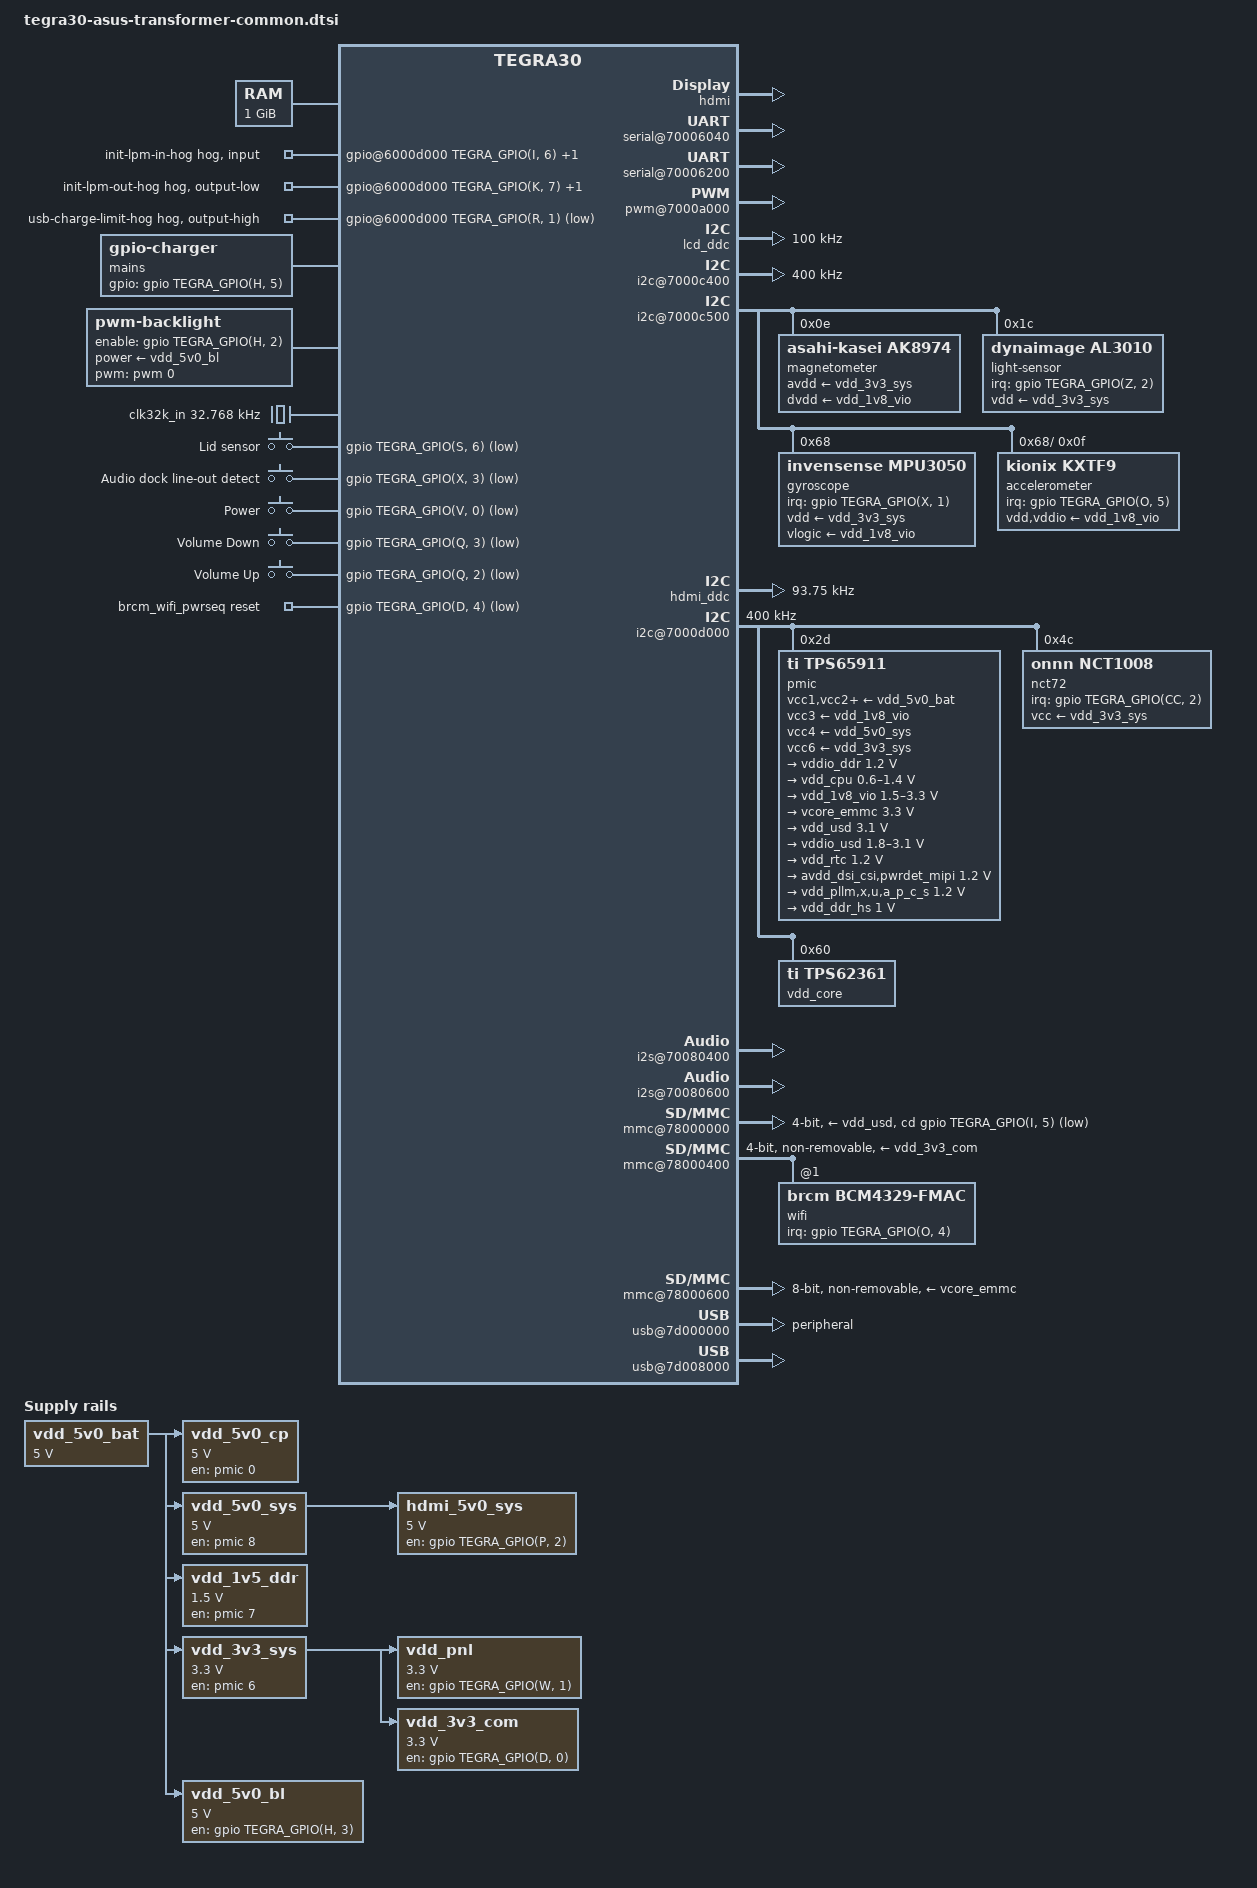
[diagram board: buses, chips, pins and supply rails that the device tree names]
// SPDX-License-Identifier: GPL-2.0

#include <dt-bindings/input/gpio-keys.h>
#include <dt-bindings/input/input.h>
#include <dt-bindings/thermal/thermal.h>

#include "tegra30.dtsi"
#include "tegra30-cpu-opp.dtsi"
#include "tegra30-cpu-opp-microvolt.dtsi"

/ {
	chassis-type = "convertible";

	aliases {
		mmc0 = "/mmc@78000600"; /* eMMC */
		mmc1 = "/mmc@78000000"; /* uSD slot */
		mmc2 = "/mmc@78000400"; /* WiFi */

		rtc0 = &pmic;
		rtc1 = "/rtc@7000e000";

		display0 = &lcd;
		display1 = &hdmi;

		serial1 = &uartc; /* Bluetooth */
		serial2 = &uartb; /* GPS */
	};

	/*
	 * The decompressor and also some bootloaders rely on a
	 * pre-existing /chosen node to be available to insert the
	 * command line and merge other ATAGS info.
	 */
	chosen {};

	firmware {
		trusted-foundations {
			compatible = "tlm,trusted-foundations";
			tlm,version-major = <2>;
			tlm,version-minor = <8>;
		};
	};

	memory@80000000 {
		reg = <0x80000000 0x40000000>;
	};

	reserved-memory {
		#address-cells = <1>;
		#size-cells = <1>;
		ranges;

		linux,cma@80000000 {
			compatible = "shared-dma-pool";
			alloc-ranges = <0x80000000 0x30000000>;
			size = <0x10000000>;		/* 256MiB */
			linux,cma-default;
			reusable;
		};

		ramoops@beb00000 {
			compatible = "ramoops";
			reg = <0xbeb00000 0x10000>;	/* 64kB */
			console-size = <0x8000>;	/* 32kB */
			record-size = <0x400>;		/*  1kB */
			ecc-size = <16>;
		};

		trustzone@bfe00000 {
			reg = <0xbfe00000 0x200000>;	/* 2MB */
			no-map;
		};
	};

	host1x@50000000 {
		hdmi: hdmi@54280000 {
			status = "okay";

			hdmi-supply = <&hdmi_5v0_sys>;
			pll-supply = <&vdd_1v8_vio>;
			vdd-supply = <&vdd_3v3_sys>;

			nvidia,hpd-gpio = <&gpio TEGRA_GPIO(N, 7) GPIO_ACTIVE_HIGH>;
			nvidia,ddc-i2c-bus = <&hdmi_ddc>;
		};
	};

	gpio@6000d000 {
		init-lpm-in-hog {
			gpio-hog;
			gpios = <TEGRA_GPIO(I, 6) GPIO_ACTIVE_HIGH>,
				<TEGRA_GPIO(B, 1) GPIO_ACTIVE_HIGH>;
			input;
		};

		init-lpm-out-hog {
			gpio-hog;
			gpios = <TEGRA_GPIO(K, 7) GPIO_ACTIVE_HIGH>,
				<TEGRA_GPIO(R, 0) GPIO_ACTIVE_HIGH>;
			output-low;
		};

		usb-charge-limit-hog {
			gpio-hog;
			gpios = <TEGRA_GPIO(R, 1) GPIO_ACTIVE_LOW>;
			output-high;
		};
	};

	vde@6001a000 {
		assigned-clocks = <&tegra_car TEGRA30_CLK_VDE>;
		assigned-clock-parents = <&tegra_car TEGRA30_CLK_PLL_P>;
		assigned-clock-rates = <408000000>;
	};

	pinmux@70000868 {
		pinctrl-names = "default";
		pinctrl-0 = <&state_default>;

		state_default: pinmux {
			/* SDMMC1 pinmux */
			sdmmc1_clk {
				nvidia,pins = "sdmmc1_clk_pz0";
				nvidia,function = "sdmmc1";
				nvidia,pull = <TEGRA_PIN_PULL_NONE>;
				nvidia,tristate = <TEGRA_PIN_DISABLE>;
				nvidia,enable-input = <TEGRA_PIN_ENABLE>;
			};

			sdmmc1_cmd {
				nvidia,pins = "sdmmc1_dat3_py4",
						"sdmmc1_dat2_py5",
						"sdmmc1_dat1_py6",
						"sdmmc1_dat0_py7",
						"sdmmc1_cmd_pz1";
				nvidia,function = "sdmmc1";
				nvidia,pull = <TEGRA_PIN_PULL_UP>;
				nvidia,tristate = <TEGRA_PIN_DISABLE>;
				nvidia,enable-input = <TEGRA_PIN_ENABLE>;
			};

			sdmmc1_cd {
				nvidia,pins = "gmi_iordy_pi5";
				nvidia,function = "rsvd1";
				nvidia,pull = <TEGRA_PIN_PULL_UP>;
				nvidia,tristate = <TEGRA_PIN_DISABLE>;
				nvidia,enable-input = <TEGRA_PIN_ENABLE>;
			};

			sdmmc1_wp {
				nvidia,pins = "vi_d11_pt3";
				nvidia,function = "rsvd2";
				nvidia,pull = <TEGRA_PIN_PULL_UP>;
				nvidia,tristate = <TEGRA_PIN_DISABLE>;
				nvidia,enable-input = <TEGRA_PIN_ENABLE>;
			};

			/* SDMMC2 pinmux */
			vi_d1_pd5 {
				nvidia,pins = "vi_d1_pd5",
						"vi_d2_pl0",
						"vi_d3_pl1",
						"vi_d5_pl3",
						"vi_d7_pl5";
				nvidia,function = "sdmmc2";
				nvidia,pull = <TEGRA_PIN_PULL_NONE>;
				nvidia,tristate = <TEGRA_PIN_DISABLE>;
				nvidia,enable-input = <TEGRA_PIN_ENABLE>;
			};

			vi_d8_pl6 {
				nvidia,pins = "vi_d8_pl6",
						"vi_d9_pl7";
				nvidia,function = "sdmmc2";
				nvidia,pull = <TEGRA_PIN_PULL_NONE>;
				nvidia,tristate = <TEGRA_PIN_DISABLE>;
				nvidia,enable-input = <TEGRA_PIN_ENABLE>;
				nvidia,lock = <0>;
				nvidia,io-reset = <0>;
			};

			/* SDMMC3 pinmux */
			sdmmc3_clk {
				nvidia,pins = "sdmmc3_clk_pa6";
				nvidia,function = "sdmmc3";
				nvidia,pull = <TEGRA_PIN_PULL_NONE>;
				nvidia,tristate = <TEGRA_PIN_DISABLE>;
				nvidia,enable-input = <TEGRA_PIN_ENABLE>;
			};

			sdmmc3_cmd {
				nvidia,pins = "sdmmc3_cmd_pa7",
						"sdmmc3_dat0_pb7",
						"sdmmc3_dat1_pb6",
						"sdmmc3_dat2_pb5",
						"sdmmc3_dat3_pb4",
						"sdmmc3_dat4_pd1",
						"sdmmc3_dat5_pd0",
						"sdmmc3_dat6_pd3",
						"sdmmc3_dat7_pd4";
				nvidia,function = "sdmmc3";
				nvidia,pull = <TEGRA_PIN_PULL_UP>;
				nvidia,tristate = <TEGRA_PIN_DISABLE>;
				nvidia,enable-input = <TEGRA_PIN_ENABLE>;
			};

			/* SDMMC4 pinmux */
			sdmmc4_clk {
				nvidia,pins = "sdmmc4_clk_pcc4";
				nvidia,function = "sdmmc4";
				nvidia,pull = <TEGRA_PIN_PULL_NONE>;
				nvidia,tristate = <TEGRA_PIN_DISABLE>;
				nvidia,enable-input = <TEGRA_PIN_ENABLE>;
			};

			sdmmc4_cmd {
				nvidia,pins = "sdmmc4_cmd_pt7",
						"sdmmc4_dat0_paa0",
						"sdmmc4_dat1_paa1",
						"sdmmc4_dat2_paa2",
						"sdmmc4_dat3_paa3",
						"sdmmc4_dat4_paa4",
						"sdmmc4_dat5_paa5",
						"sdmmc4_dat6_paa6",
						"sdmmc4_dat7_paa7";
				nvidia,function = "sdmmc4";
				nvidia,pull = <TEGRA_PIN_PULL_UP>;
				nvidia,tristate = <TEGRA_PIN_DISABLE>;
				nvidia,enable-input = <TEGRA_PIN_ENABLE>;
			};

			sdmmc4_rst_n {
				nvidia,pins = "sdmmc4_rst_n_pcc3";
				nvidia,function = "rsvd2";
				nvidia,pull = <TEGRA_PIN_PULL_DOWN>;
				nvidia,tristate = <TEGRA_PIN_DISABLE>;
				nvidia,enable-input = <TEGRA_PIN_ENABLE>;
			};

			cam_mclk {
				nvidia,pins = "cam_mclk_pcc0";
				nvidia,function = "vi_alt3";
				nvidia,pull = <TEGRA_PIN_PULL_UP>;
				nvidia,tristate = <TEGRA_PIN_DISABLE>;
				nvidia,enable-input = <TEGRA_PIN_ENABLE>;
			};

			drive_sdmmc4 {
				nvidia,pins = "drive_gma",
						"drive_gmb",
						"drive_gmc",
						"drive_gmd";
				nvidia,pull-down-strength = <9>;
				nvidia,pull-up-strength = <9>;
				nvidia,slew-rate-rising = <TEGRA_PIN_SLEW_RATE_SLOWEST>;
				nvidia,slew-rate-falling = <TEGRA_PIN_SLEW_RATE_SLOWEST>;
			};

			/* I2C pinmux */
			gen1_i2c {
				nvidia,pins = "gen1_i2c_scl_pc4",
						"gen1_i2c_sda_pc5";
				nvidia,function = "i2c1";
				nvidia,pull = <TEGRA_PIN_PULL_NONE>;
				nvidia,tristate = <TEGRA_PIN_DISABLE>;
				nvidia,enable-input = <TEGRA_PIN_ENABLE>;
				nvidia,open-drain = <TEGRA_PIN_ENABLE>;
				nvidia,lock = <0>;
			};

			gen2_i2c {
				nvidia,pins = "gen2_i2c_scl_pt5",
						"gen2_i2c_sda_pt6";
				nvidia,function = "i2c2";
				nvidia,pull = <TEGRA_PIN_PULL_NONE>;
				nvidia,tristate = <TEGRA_PIN_DISABLE>;
				nvidia,enable-input = <TEGRA_PIN_ENABLE>;
				nvidia,open-drain = <TEGRA_PIN_ENABLE>;
				nvidia,lock = <0>;
			};

			cam_i2c {
				nvidia,pins = "cam_i2c_scl_pbb1",
						"cam_i2c_sda_pbb2";
				nvidia,function = "i2c3";
				nvidia,pull = <TEGRA_PIN_PULL_NONE>;
				nvidia,tristate = <TEGRA_PIN_DISABLE>;
				nvidia,enable-input = <TEGRA_PIN_ENABLE>;
				nvidia,open-drain = <TEGRA_PIN_ENABLE>;
				nvidia,lock = <0>;
			};

			ddc_i2c {
				nvidia,pins = "ddc_scl_pv4",
						"ddc_sda_pv5";
				nvidia,function = "i2c4";
				nvidia,pull = <TEGRA_PIN_PULL_NONE>;
				nvidia,tristate = <TEGRA_PIN_DISABLE>;
				nvidia,enable-input = <TEGRA_PIN_ENABLE>;
				nvidia,lock = <0>;
			};

			pwr_i2c {
				nvidia,pins = "pwr_i2c_scl_pz6",
						"pwr_i2c_sda_pz7";
				nvidia,function = "i2cpwr";
				nvidia,pull = <TEGRA_PIN_PULL_NONE>;
				nvidia,tristate = <TEGRA_PIN_DISABLE>;
				nvidia,enable-input = <TEGRA_PIN_ENABLE>;
				nvidia,open-drain = <TEGRA_PIN_ENABLE>;
				nvidia,lock = <0>;
			};

			hotplug_i2c {
				nvidia,pins = "pu4";
				nvidia,function = "rsvd4";
				nvidia,pull = <TEGRA_PIN_PULL_UP>;
				nvidia,tristate = <TEGRA_PIN_DISABLE>;
				nvidia,enable-input = <TEGRA_PIN_ENABLE>;
			};

			/* HDMI pinmux */
			hdmi_cec {
				nvidia,pins = "hdmi_cec_pee3";
				nvidia,function = "cec";
				nvidia,pull = <TEGRA_PIN_PULL_NONE>;
				nvidia,tristate = <TEGRA_PIN_DISABLE>;
				nvidia,enable-input = <TEGRA_PIN_ENABLE>;
				nvidia,open-drain = <TEGRA_PIN_ENABLE>;
				nvidia,lock = <0>;
			};

			hdmi_hpd {
				nvidia,pins = "hdmi_int_pn7";
				nvidia,function = "hdmi";
				nvidia,pull = <TEGRA_PIN_PULL_NONE>;
				nvidia,tristate = <TEGRA_PIN_ENABLE>;
				nvidia,enable-input = <TEGRA_PIN_ENABLE>;
			};

			/* UART-A */
			ulpi_data0_po1 {
				nvidia,pins = "ulpi_data0_po1";
				nvidia,function = "uarta";
				nvidia,pull = <TEGRA_PIN_PULL_NONE>;
				nvidia,tristate = <TEGRA_PIN_DISABLE>;
				nvidia,enable-input = <TEGRA_PIN_DISABLE>;
			};

			ulpi_data1_po2 {
				nvidia,pins = "ulpi_data1_po2";
				nvidia,function = "uarta";
				nvidia,pull = <TEGRA_PIN_PULL_DOWN>;
				nvidia,tristate = <TEGRA_PIN_ENABLE>;
				nvidia,enable-input = <TEGRA_PIN_ENABLE>;
			};

			ulpi_data5_po6 {
				nvidia,pins = "ulpi_data5_po6";
				nvidia,function = "uarta";
				nvidia,pull = <TEGRA_PIN_PULL_NONE>;
				nvidia,tristate = <TEGRA_PIN_ENABLE>;
				nvidia,enable-input = <TEGRA_PIN_ENABLE>;
			};

			ulpi_data7_po0 {
				nvidia,pins = "ulpi_data7_po0",
						"ulpi_data2_po3",
						"ulpi_data3_po4",
						"ulpi_data4_po5",
						"ulpi_data6_po7";
				nvidia,function = "uarta";
				nvidia,pull = <TEGRA_PIN_PULL_NONE>;
				nvidia,tristate = <TEGRA_PIN_DISABLE>;
				nvidia,enable-input = <TEGRA_PIN_ENABLE>;
			};

			/* UART-B */
			uartb_txd_rts {
				nvidia,pins = "uart2_txd_pc2",
						"uart2_rts_n_pj6";
				nvidia,function = "uartb";
				nvidia,pull = <TEGRA_PIN_PULL_NONE>;
				nvidia,tristate = <TEGRA_PIN_DISABLE>;
				nvidia,enable-input = <TEGRA_PIN_DISABLE>;
			};

			uartb_rxd_cts {
				nvidia,pins = "uart2_rxd_pc3",
						"uart2_cts_n_pj5";
				nvidia,function = "uartb";
				nvidia,pull = <TEGRA_PIN_PULL_NONE>;
				nvidia,tristate = <TEGRA_PIN_DISABLE>;
				nvidia,enable-input = <TEGRA_PIN_ENABLE>;
			};

			/* UART-C */
			uartc_rxd_cts {
				nvidia,pins = "uart3_cts_n_pa1",
						"uart3_rxd_pw7";
				nvidia,function = "uartc";
				nvidia,pull = <TEGRA_PIN_PULL_NONE>;
				nvidia,tristate = <TEGRA_PIN_DISABLE>;
				nvidia,enable-input = <TEGRA_PIN_ENABLE>;
			};

			uartc_txd_rts {
				nvidia,pins = "uart3_rts_n_pc0",
						"uart3_txd_pw6";
				nvidia,function = "uartc";
				nvidia,pull = <TEGRA_PIN_PULL_NONE>;
				nvidia,tristate = <TEGRA_PIN_DISABLE>;
				nvidia,enable-input = <TEGRA_PIN_DISABLE>;
			};

			/* UART-D */
			ulpi_nxt_py2 {
				nvidia,pins = "ulpi_nxt_py2";
				nvidia,function = "uartd";
				nvidia,pull = <TEGRA_PIN_PULL_NONE>;
				nvidia,tristate = <TEGRA_PIN_ENABLE>;
				nvidia,enable-input = <TEGRA_PIN_ENABLE>;
			};

			ulpi_clk_py0 {
				nvidia,pins = "ulpi_clk_py0",
						"ulpi_dir_py1",
						"ulpi_stp_py3";
				nvidia,function = "uartd";
				nvidia,pull = <TEGRA_PIN_PULL_NONE>;
				nvidia,tristate = <TEGRA_PIN_ENABLE>;
				nvidia,enable-input = <TEGRA_PIN_DISABLE>;
			};

			/* I2S pinmux */
			dap_i2s0 {
				nvidia,pins = "dap1_fs_pn0",
						"dap1_din_pn1",
						"dap1_dout_pn2",
						"dap1_sclk_pn3";
				nvidia,function = "i2s0";
				nvidia,pull = <TEGRA_PIN_PULL_NONE>;
				nvidia,tristate = <TEGRA_PIN_ENABLE>;
				nvidia,enable-input = <TEGRA_PIN_ENABLE>;
			};

			dap_i2s1 {
				nvidia,pins = "dap2_fs_pa2",
						"dap2_sclk_pa3",
						"dap2_din_pa4",
						"dap2_dout_pa5";
				nvidia,function = "i2s1";
				nvidia,pull = <TEGRA_PIN_PULL_NONE>;
				nvidia,tristate = <TEGRA_PIN_DISABLE>;
				nvidia,enable-input = <TEGRA_PIN_ENABLE>;
			};

			dap3_fs {
				nvidia,pins = "dap3_fs_pp0",
						"dap3_din_pp1";
				nvidia,function = "i2s2";
				nvidia,pull = <TEGRA_PIN_PULL_NONE>;
				nvidia,tristate = <TEGRA_PIN_ENABLE>;
				nvidia,enable-input = <TEGRA_PIN_ENABLE>;
			};

			dap3_dout {
				nvidia,pins = "dap3_dout_pp2",
						"dap3_sclk_pp3";
				nvidia,function = "i2s2";
				nvidia,pull = <TEGRA_PIN_PULL_NONE>;
				nvidia,tristate = <TEGRA_PIN_DISABLE>;
				nvidia,enable-input = <TEGRA_PIN_ENABLE>;
			};

			dap_i2s3 {
				nvidia,pins = "dap4_fs_pp4",
						"dap4_din_pp5",
						"dap4_dout_pp6",
						"dap4_sclk_pp7";
				nvidia,function = "i2s3";
				nvidia,pull = <TEGRA_PIN_PULL_NONE>;
				nvidia,tristate = <TEGRA_PIN_DISABLE>;
				nvidia,enable-input = <TEGRA_PIN_ENABLE>;
			};

			/* Sensors pinmux */
			nct_irq {
				nvidia,pins = "pcc2";
				nvidia,function = "i2s4";
				nvidia,pull = <TEGRA_PIN_PULL_NONE>;
				nvidia,tristate = <TEGRA_PIN_DISABLE>;
				nvidia,enable-input = <TEGRA_PIN_ENABLE>;
			};

			/* Asus EC pinmux */
			ec_irqs {
				nvidia,pins = "kb_row10_ps2",
						"kb_row15_ps7";
				nvidia,function = "kbc";
				nvidia,pull = <TEGRA_PIN_PULL_UP>;
				nvidia,tristate = <TEGRA_PIN_DISABLE>;
				nvidia,enable-input = <TEGRA_PIN_ENABLE>;
			};

			ec_reqs {
				nvidia,pins = "kb_col1_pq1";
				nvidia,function = "kbc";
				nvidia,pull = <TEGRA_PIN_PULL_UP>;
				nvidia,tristate = <TEGRA_PIN_DISABLE>;
				nvidia,enable-input = <TEGRA_PIN_ENABLE>;
			};

			/* Memory type bootstrap */
			mem_boostraps {
				nvidia,pins = "gmi_ad4_pg4",
						"gmi_ad5_pg5";
				nvidia,function = "nand";
				nvidia,pull = <TEGRA_PIN_PULL_NONE>;
				nvidia,tristate = <TEGRA_PIN_DISABLE>;
				nvidia,enable-input = <TEGRA_PIN_ENABLE>;
			};

			/* PCI-e pinmux */
			pex_l2_rst_n {
				nvidia,pins = "pex_l2_rst_n_pcc6",
						"pex_l0_rst_n_pdd1",
						"pex_l1_rst_n_pdd5";
				nvidia,function = "pcie";
				nvidia,pull = <TEGRA_PIN_PULL_NONE>;
				nvidia,tristate = <TEGRA_PIN_DISABLE>;
				nvidia,enable-input = <TEGRA_PIN_DISABLE>;
			};

			pex_l2_clkreq_n {
				nvidia,pins = "pex_l2_clkreq_n_pcc7",
						"pex_l0_prsnt_n_pdd0",
						"pex_l0_clkreq_n_pdd2",
						"pex_wake_n_pdd3",
						"pex_l1_prsnt_n_pdd4",
						"pex_l1_clkreq_n_pdd6",
						"pex_l2_prsnt_n_pdd7";
				nvidia,function = "pcie";
				nvidia,pull = <TEGRA_PIN_PULL_NONE>;
				nvidia,tristate = <TEGRA_PIN_DISABLE>;
				nvidia,enable-input = <TEGRA_PIN_ENABLE>;
			};

			/* SPI pinmux */
			spi1_mosi_px4 {
				nvidia,pins = "spi1_mosi_px4",
						"spi1_sck_px5",
						"spi1_cs0_n_px6",
						"spi1_miso_px7";
				nvidia,function = "spi1";
				nvidia,pull = <TEGRA_PIN_PULL_NONE>;
				nvidia,tristate = <TEGRA_PIN_ENABLE>;
				nvidia,enable-input = <TEGRA_PIN_ENABLE>;
			};

			spi2_cs1_n_pw2 {
				nvidia,pins = "spi2_cs1_n_pw2";
				nvidia,function = "spi2";
				nvidia,pull = <TEGRA_PIN_PULL_UP>;
				nvidia,tristate = <TEGRA_PIN_DISABLE>;
				nvidia,enable-input = <TEGRA_PIN_ENABLE>;
			};

			spi2_sck_px2 {
				nvidia,pins = "spi2_sck_px2";
				nvidia,function = "spi2";
				nvidia,pull = <TEGRA_PIN_PULL_NONE>;
				nvidia,tristate = <TEGRA_PIN_DISABLE>;
				nvidia,enable-input = <TEGRA_PIN_ENABLE>;
			};

			gmi_a17_pb0 {
				nvidia,pins = "gmi_a17_pb0",
						"gmi_a16_pj7";
				nvidia,function = "spi4";
				nvidia,pull = <TEGRA_PIN_PULL_NONE>;
				nvidia,tristate = <TEGRA_PIN_ENABLE>;
				nvidia,enable-input = <TEGRA_PIN_DISABLE>;
			};

			gmi_a18_pb1 {
				nvidia,pins = "gmi_a18_pb1";
				nvidia,function = "spi4";
				nvidia,pull = <TEGRA_PIN_PULL_UP>;
				nvidia,tristate = <TEGRA_PIN_DISABLE>;
				nvidia,enable-input = <TEGRA_PIN_ENABLE>;
			};

			gmi_a19_pk7 {
				nvidia,pins = "gmi_a19_pk7";
				nvidia,function = "spi4";
				nvidia,pull = <TEGRA_PIN_PULL_NONE>;
				nvidia,tristate = <TEGRA_PIN_DISABLE>;
				nvidia,enable-input = <TEGRA_PIN_ENABLE>;
			};

			/* Display A pinmux */
			lcd_pwr0_pb2 {
				nvidia,pins = "lcd_pwr0_pb2",
						"lcd_pclk_pb3",
						"lcd_pwr1_pc1",
						"lcd_d0_pe0",
						"lcd_d1_pe1",
						"lcd_d2_pe2",
						"lcd_d3_pe3",
						"lcd_d4_pe4",
						"lcd_d5_pe5",
						"lcd_d6_pe6",
						"lcd_d7_pe7",
						"lcd_d8_pf0",
						"lcd_d9_pf1",
						"lcd_d10_pf2",
						"lcd_d11_pf3",
						"lcd_d12_pf4",
						"lcd_d13_pf5",
						"lcd_d14_pf6",
						"lcd_d15_pf7",
						"lcd_de_pj1",
						"lcd_hsync_pj3",
						"lcd_vsync_pj4",
						"lcd_d16_pm0",
						"lcd_d17_pm1",
						"lcd_d18_pm2",
						"lcd_d19_pm3",
						"lcd_d20_pm4",
						"lcd_d21_pm5",
						"lcd_d22_pm6",
						"lcd_d23_pm7",
						"lcd_dc0_pn6",
						"lcd_sdin_pz2";
				nvidia,function = "displaya";
				nvidia,pull = <TEGRA_PIN_PULL_NONE>;
				nvidia,tristate = <TEGRA_PIN_DISABLE>;
				nvidia,enable-input = <TEGRA_PIN_ENABLE>;
			};

			lcd_cs0_n_pn4 {
				nvidia,pins = "lcd_cs0_n_pn4",
						"lcd_sdout_pn5",
						"lcd_wr_n_pz3";
				nvidia,function = "displaya";
				nvidia,pull = <TEGRA_PIN_PULL_NONE>;
				nvidia,tristate = <TEGRA_PIN_ENABLE>;
				nvidia,enable-input = <TEGRA_PIN_ENABLE>;
			};

			blink {
				nvidia,pins = "clk_32k_out_pa0";
				nvidia,function = "blink";
				nvidia,pull = <TEGRA_PIN_PULL_NONE>;
				nvidia,tristate = <TEGRA_PIN_DISABLE>;
				nvidia,enable-input = <TEGRA_PIN_DISABLE>;
			};

			/* KBC keys */
			kb_col0_pq0 {
				nvidia,pins = "kb_col0_pq0";
				nvidia,function = "kbc";
				nvidia,pull = <TEGRA_PIN_PULL_NONE>;
				nvidia,tristate = <TEGRA_PIN_ENABLE>;
				nvidia,enable-input = <TEGRA_PIN_DISABLE>;
			};

			kb_col1_pq1 {
				nvidia,pins = "kb_row1_pr1",
						"kb_row3_pr3",
						"kb_row8_ps0",
						"kb_row14_ps6";
				nvidia,function = "kbc";
				nvidia,pull = <TEGRA_PIN_PULL_UP>;
				nvidia,tristate = <TEGRA_PIN_DISABLE>;
				nvidia,enable-input = <TEGRA_PIN_ENABLE>;
			};

			kb_col4_pq4 {
				nvidia,pins = "kb_col4_pq4",
						"kb_col5_pq5",
						"kb_col7_pq7",
						"kb_row2_pr2",
						"kb_row4_pr4",
						"kb_row5_pr5",
						"kb_row12_ps4",
						"kb_row13_ps5";
				nvidia,function = "kbc";
				nvidia,pull = <TEGRA_PIN_PULL_NONE>;
				nvidia,tristate = <TEGRA_PIN_ENABLE>;
				nvidia,enable-input = <TEGRA_PIN_ENABLE>;
			};

			gmi_wp_n_pc7 {
				nvidia,pins = "gmi_wp_n_pc7",
						"gmi_wait_pi7",
						"gmi_cs3_n_pk4";
				nvidia,function = "rsvd1";
				nvidia,pull = <TEGRA_PIN_PULL_NONE>;
				nvidia,tristate = <TEGRA_PIN_ENABLE>;
				nvidia,enable-input = <TEGRA_PIN_DISABLE>;
			};

			gmi_cs0_n_pj0 {
				nvidia,pins = "gmi_cs0_n_pj0",
						"gmi_cs1_n_pj2",
						"gmi_cs2_n_pk3";
				nvidia,function = "rsvd1";
				nvidia,pull = <TEGRA_PIN_PULL_NONE>;
				nvidia,tristate = <TEGRA_PIN_ENABLE>;
				nvidia,enable-input = <TEGRA_PIN_ENABLE>;
			};

			vi_pclk_pt0 {
				nvidia,pins = "vi_pclk_pt0";
				nvidia,function = "rsvd1";
				nvidia,pull = <TEGRA_PIN_PULL_UP>;
				nvidia,tristate = <TEGRA_PIN_ENABLE>;
				nvidia,enable-input = <TEGRA_PIN_ENABLE>;
				nvidia,lock = <0>;
				nvidia,io-reset = <0>;
			};

			/* GPIO keys pinmux */
			power_key {
				nvidia,pins = "pv0";
				nvidia,function = "rsvd1";
				nvidia,pull = <TEGRA_PIN_PULL_UP>;
				nvidia,tristate = <TEGRA_PIN_ENABLE>;
				nvidia,enable-input = <TEGRA_PIN_ENABLE>;
			};

			vol_keys {
				nvidia,pins = "kb_col2_pq2",
						"kb_col3_pq3";
				nvidia,function = "rsvd4";
				nvidia,pull = <TEGRA_PIN_PULL_UP>;
				nvidia,tristate = <TEGRA_PIN_ENABLE>;
				nvidia,enable-input = <TEGRA_PIN_ENABLE>;
			};

			/* Bluetooth */
			bt_shutdown {
				nvidia,pins = "pu0";
				nvidia,function = "rsvd4";
				nvidia,pull = <TEGRA_PIN_PULL_NONE>;
				nvidia,tristate = <TEGRA_PIN_DISABLE>;
				nvidia,enable-input = <TEGRA_PIN_ENABLE>;
			};

			bt_dev_wake {
				nvidia,pins = "pu1";
				nvidia,function = "rsvd1";
				nvidia,pull = <TEGRA_PIN_PULL_NONE>;
				nvidia,tristate = <TEGRA_PIN_DISABLE>;
				nvidia,enable-input = <TEGRA_PIN_DISABLE>;
			};

			bt_host_wake {
				nvidia,pins = "pu6";
				nvidia,function = "rsvd4";
				nvidia,pull = <TEGRA_PIN_PULL_DOWN>;
				nvidia,tristate = <TEGRA_PIN_DISABLE>;
				nvidia,enable-input = <TEGRA_PIN_ENABLE>;
			};

			pu2 {
				nvidia,pins = "pu2";
				nvidia,function = "rsvd1";
				nvidia,pull = <TEGRA_PIN_PULL_NONE>;
				nvidia,tristate = <TEGRA_PIN_DISABLE>;
				nvidia,enable-input = <TEGRA_PIN_ENABLE>;
			};

			pu3 {
				nvidia,pins = "pu3";
				nvidia,function = "rsvd4";
				nvidia,pull = <TEGRA_PIN_PULL_NONE>;
				nvidia,tristate = <TEGRA_PIN_DISABLE>;
				nvidia,enable-input = <TEGRA_PIN_DISABLE>;
			};

			pcc1 {
				nvidia,pins = "pcc1";
				nvidia,function = "rsvd2";
				nvidia,pull = <TEGRA_PIN_PULL_NONE>;
				nvidia,tristate = <TEGRA_PIN_ENABLE>;
				nvidia,enable-input = <TEGRA_PIN_ENABLE>;
			};

			pv2 {
				nvidia,pins = "pv2";
				nvidia,function = "rsvd2";
				nvidia,pull = <TEGRA_PIN_PULL_NONE>;
				nvidia,tristate = <TEGRA_PIN_DISABLE>;
				nvidia,enable-input = <TEGRA_PIN_DISABLE>;
			};

			pv3 {
				nvidia,pins = "pv3";
				nvidia,function = "rsvd2";
				nvidia,pull = <TEGRA_PIN_PULL_NONE>;
				nvidia,tristate = <TEGRA_PIN_ENABLE>;
				nvidia,enable-input = <TEGRA_PIN_DISABLE>;
			};

			vi_vsync_pd6 {
				nvidia,pins = "vi_vsync_pd6",
						"vi_hsync_pd7";
				nvidia,function = "rsvd2";
				nvidia,pull = <TEGRA_PIN_PULL_NONE>;
				nvidia,tristate = <TEGRA_PIN_DISABLE>;
				nvidia,enable-input = <TEGRA_PIN_ENABLE>;
				nvidia,lock = <0>;
				nvidia,io-reset = <0>;
			};

			vi_d10_pt2 {
				nvidia,pins = "vi_d10_pt2",
						"vi_d0_pt4", "pbb0";
				nvidia,function = "rsvd2";
				nvidia,pull = <TEGRA_PIN_PULL_NONE>;
				nvidia,tristate = <TEGRA_PIN_DISABLE>;
				nvidia,enable-input = <TEGRA_PIN_ENABLE>;
			};

			kb_row0_pr0 {
				nvidia,pins = "kb_row0_pr0";
				nvidia,function = "rsvd4";
				nvidia,pull = <TEGRA_PIN_PULL_UP>;
				nvidia,tristate = <TEGRA_PIN_DISABLE>;
				nvidia,enable-input = <TEGRA_PIN_DISABLE>;
			};

			gmi_ad0_pg0 {
				nvidia,pins = "gmi_ad0_pg0",
						"gmi_ad1_pg1",
						"gmi_ad2_pg2",
						"gmi_ad3_pg3",
						"gmi_ad6_pg6",
						"gmi_ad7_pg7",
						"gmi_wr_n_pi0",
						"gmi_oe_n_pi1",
						"gmi_dqs_pi2",
						"gmi_adv_n_pk0",
						"gmi_clk_pk1";
				nvidia,function = "nand";
				nvidia,pull = <TEGRA_PIN_PULL_NONE>;
				nvidia,tristate = <TEGRA_PIN_ENABLE>;
				nvidia,enable-input = <TEGRA_PIN_DISABLE>;
			};

			gmi_ad13_ph5 {
				nvidia,pins = "gmi_ad13_ph5";
				nvidia,function = "nand";
				nvidia,pull = <TEGRA_PIN_PULL_NONE>;
				nvidia,tristate = <TEGRA_PIN_DISABLE>;
				nvidia,enable-input = <TEGRA_PIN_ENABLE>;
			};

			gmi_ad10_ph2 {
				nvidia,pins = "gmi_ad10_ph2",
						"gmi_ad11_ph3",
						"gmi_ad14_ph6";
				nvidia,function = "nand";
				nvidia,pull = <TEGRA_PIN_PULL_NONE>;
				nvidia,tristate = <TEGRA_PIN_DISABLE>;
				nvidia,enable-input = <TEGRA_PIN_DISABLE>;
			};

			gmi_ad12_ph4 {
				nvidia,pins = "gmi_ad12_ph4",
						"gmi_rst_n_pi4",
						"gmi_cs7_n_pi6";
				nvidia,function = "nand";
				nvidia,pull = <TEGRA_PIN_PULL_UP>;
				nvidia,tristate = <TEGRA_PIN_DISABLE>;
				nvidia,enable-input = <TEGRA_PIN_ENABLE>;
			};

			/* Vibrator control */
			vibrator {
				nvidia,pins = "gmi_ad15_ph7";
				nvidia,function = "nand";
				nvidia,pull = <TEGRA_PIN_PULL_DOWN>;
				nvidia,tristate = <TEGRA_PIN_DISABLE>;
				nvidia,enable-input = <TEGRA_PIN_DISABLE>;
			};

			/* PWM pimnmux */
			pwm_0 {
				nvidia,pins = "gmi_ad8_ph0";
				nvidia,function = "pwm0";
				nvidia,pull = <TEGRA_PIN_PULL_NONE>;
				nvidia,tristate = <TEGRA_PIN_DISABLE>;
				nvidia,enable-input = <TEGRA_PIN_DISABLE>;
			};

			pwm_2 {
				nvidia,pins = "pu5";
				nvidia,function = "pwm2";
				nvidia,pull = <TEGRA_PIN_PULL_NONE>;
				nvidia,tristate = <TEGRA_PIN_DISABLE>;
				nvidia,enable-input = <TEGRA_PIN_ENABLE>;
			};

			gmi_cs6_n_pi3 {
				nvidia,pins = "gmi_cs6_n_pi3";
				nvidia,function = "gmi";
				nvidia,pull = <TEGRA_PIN_PULL_NONE>;
				nvidia,tristate = <TEGRA_PIN_ENABLE>;
				nvidia,enable-input = <TEGRA_PIN_DISABLE>;
			};

			/* Spdif pinmux */
			spdif_out {
				nvidia,pins = "spdif_out_pk5";
				nvidia,function = "spdif";
				nvidia,pull = <TEGRA_PIN_PULL_NONE>;
				nvidia,tristate = <TEGRA_PIN_ENABLE>;
				nvidia,enable-input = <TEGRA_PIN_DISABLE>;
			};

			spdif_in {
				nvidia,pins = "spdif_in_pk6";
				nvidia,function = "spdif";
				nvidia,pull = <TEGRA_PIN_PULL_NONE>;
				nvidia,tristate = <TEGRA_PIN_ENABLE>;
				nvidia,enable-input = <TEGRA_PIN_ENABLE>;
			};

			vi_d4_pl2 {
				nvidia,pins = "vi_d4_pl2";
				nvidia,function = "vi";
				nvidia,pull = <TEGRA_PIN_PULL_NONE>;
				nvidia,tristate = <TEGRA_PIN_DISABLE>;
				nvidia,enable-input = <TEGRA_PIN_DISABLE>;
			};

			vi_d6_pl4 {
				nvidia,pins = "vi_d6_pl4";
				nvidia,function = "vi";
				nvidia,pull = <TEGRA_PIN_PULL_NONE>;
				nvidia,tristate = <TEGRA_PIN_DISABLE>;
				nvidia,enable-input = <TEGRA_PIN_DISABLE>;
				nvidia,lock = <0>;
				nvidia,io-reset = <0>;
			};

			vi_mclk_pt1 {
				nvidia,pins = "vi_mclk_pt1";
				nvidia,function = "vi";
				nvidia,pull = <TEGRA_PIN_PULL_UP>;
				nvidia,tristate = <TEGRA_PIN_DISABLE>;
				nvidia,enable-input = <TEGRA_PIN_ENABLE>;
			};

			jtag_rtck {
				nvidia,pins = "jtag_rtck_pu7";
				nvidia,function = "rtck";
				nvidia,pull = <TEGRA_PIN_PULL_NONE>;
				nvidia,tristate = <TEGRA_PIN_DISABLE>;
				nvidia,enable-input = <TEGRA_PIN_DISABLE>;
			};

			crt_hsync_pv6 {
				nvidia,pins = "crt_hsync_pv6",
						"crt_vsync_pv7";
				nvidia,function = "crt";
				nvidia,pull = <TEGRA_PIN_PULL_NONE>;
				nvidia,tristate = <TEGRA_PIN_ENABLE>;
				nvidia,enable-input = <TEGRA_PIN_DISABLE>;
			};

			clk1_out {
				nvidia,pins = "clk1_out_pw4";
				nvidia,function = "extperiph1";
				nvidia,pull = <TEGRA_PIN_PULL_NONE>;
				nvidia,tristate = <TEGRA_PIN_DISABLE>;
				nvidia,enable-input = <TEGRA_PIN_ENABLE>;
			};

			clk2_out {
				nvidia,pins = "clk2_out_pw5";
				nvidia,function = "extperiph2";
				nvidia,pull = <TEGRA_PIN_PULL_NONE>;
				nvidia,tristate = <TEGRA_PIN_DISABLE>;
				nvidia,enable-input = <TEGRA_PIN_ENABLE>;
			};

			clk3_out {
				nvidia,pins = "clk3_out_pee0";
				nvidia,function = "extperiph3";
				nvidia,pull = <TEGRA_PIN_PULL_NONE>;
				nvidia,tristate = <TEGRA_PIN_ENABLE>;
				nvidia,enable-input = <TEGRA_PIN_DISABLE>;
			};

			sys_clk_req {
				nvidia,pins = "sys_clk_req_pz5";
				nvidia,function = "sysclk";
				nvidia,pull = <TEGRA_PIN_PULL_NONE>;
				nvidia,tristate = <TEGRA_PIN_DISABLE>;
				nvidia,enable-input = <TEGRA_PIN_DISABLE>;
			};

			pbb4 {
				nvidia,pins = "pbb4";
				nvidia,function = "vgp4";
				nvidia,pull = <TEGRA_PIN_PULL_NONE>;
				nvidia,tristate = <TEGRA_PIN_DISABLE>;
				nvidia,enable-input = <TEGRA_PIN_ENABLE>;
			};

			pbb5 {
				nvidia,pins = "pbb5";
				nvidia,function = "vgp5";
				nvidia,pull = <TEGRA_PIN_PULL_NONE>;
				nvidia,tristate = <TEGRA_PIN_DISABLE>;
				nvidia,enable-input = <TEGRA_PIN_ENABLE>;
			};

			pbb6 {
				nvidia,pins = "pbb6";
				nvidia,function = "vgp6";
				nvidia,pull = <TEGRA_PIN_PULL_NONE>;
				nvidia,tristate = <TEGRA_PIN_DISABLE>;
				nvidia,enable-input = <TEGRA_PIN_ENABLE>;
			};

			clk2_req_pcc5 {
				nvidia,pins = "clk2_req_pcc5",
						"clk1_req_pee2";
				nvidia,function = "dap";
				nvidia,pull = <TEGRA_PIN_PULL_NONE>;
				nvidia,tristate = <TEGRA_PIN_DISABLE>;
				nvidia,enable-input = <TEGRA_PIN_ENABLE>;
			};

			clk3_req_pee1 {
				nvidia,pins = "clk3_req_pee1";
				nvidia,function = "dev3";
				nvidia,pull = <TEGRA_PIN_PULL_NONE>;
				nvidia,tristate = <TEGRA_PIN_ENABLE>;
				nvidia,enable-input = <TEGRA_PIN_ENABLE>;
			};

			owr {
				nvidia,pins = "owr";
				nvidia,function = "owr";
				nvidia,pull = <TEGRA_PIN_PULL_NONE>;
				nvidia,tristate = <TEGRA_PIN_DISABLE>;
				nvidia,enable-input = <TEGRA_PIN_ENABLE>;
			};

			/* GPIO power/drive control */
			drive_dap1 {
				nvidia,pins = "drive_dap1",
						"drive_dap2",
						"drive_dbg",
						"drive_at5",
						"drive_gme",
						"drive_ddc",
						"drive_ao1",
						"drive_uart3";
				nvidia,high-speed-mode = <TEGRA_PIN_DISABLE>;
				nvidia,schmitt = <TEGRA_PIN_ENABLE>;
				nvidia,low-power-mode = <TEGRA_PIN_LP_DRIVE_DIV_1>;
				nvidia,pull-down-strength = <31>;
				nvidia,pull-up-strength = <31>;
				nvidia,slew-rate-rising = <TEGRA_PIN_SLEW_RATE_FASTEST>;
				nvidia,slew-rate-falling = <TEGRA_PIN_SLEW_RATE_FASTEST>;
			};

			drive_sdio1 {
				nvidia,pins = "drive_sdio1",
						"drive_sdio3";
				nvidia,high-speed-mode = <TEGRA_PIN_DISABLE>;
				nvidia,schmitt = <TEGRA_PIN_DISABLE>;
				nvidia,pull-down-strength = <46>;
				nvidia,pull-up-strength = <42>;
				nvidia,slew-rate-rising = <TEGRA_PIN_SLEW_RATE_FAST>;
				nvidia,slew-rate-falling = <TEGRA_PIN_SLEW_RATE_FAST>;
			};
		};
	};

	serial@70006040 {
		compatible = "nvidia,tegra30-hsuart";
		/delete-property/ reg-shift;
		status = "okay";

		/* Broadcom GPS BCM47511 */
	};

	serial@70006200 {
		compatible = "nvidia,tegra30-hsuart";
		/delete-property/ reg-shift;
		status = "okay";

		nvidia,adjust-baud-rates = <0 9600 100>,
					   <9600 115200 200>,
					   <1000000 4000000 136>;

		bluetooth {
			max-speed = <4000000>;

			clocks = <&tegra_pmc TEGRA_PMC_CLK_BLINK>;
			clock-names = "txco";

			interrupt-parent = <&gpio>;
			interrupts = <TEGRA_GPIO(U, 6) IRQ_TYPE_EDGE_RISING>;
			interrupt-names = "host-wakeup";

			device-wakeup-gpios = <&gpio TEGRA_GPIO(U, 1) GPIO_ACTIVE_HIGH>;
			shutdown-gpios =      <&gpio TEGRA_GPIO(U, 0) GPIO_ACTIVE_HIGH>;

			vbat-supply  = <&vdd_3v3_com>;
			vddio-supply = <&vdd_1v8_vio>;
		};
	};

	pwm@7000a000 {
		status = "okay";
	};

	lcd_ddc: i2c@7000c000 {
		status = "okay";
		clock-frequency = <100000>;
	};

	i2c@7000c400 {
		status = "okay";
		clock-frequency = <400000>;
	};

	i2c@7000c500 {
		status = "okay";

		/* Aichi AMI306 digital compass */
		magnetometer@e {
			compatible = "asahi-kasei,ak8974";
			reg = <0x0e>;

			avdd-supply = <&vdd_3v3_sys>;
			dvdd-supply = <&vdd_1v8_vio>;
		};

		/* Dynaimage ambient light sensor */
		light-sensor@1c {
			compatible = "dynaimage,al3010";
			reg = <0x1c>;

			interrupt-parent = <&gpio>;
			interrupts = <TEGRA_GPIO(Z, 2) IRQ_TYPE_LEVEL_HIGH>;

			vdd-supply = <&vdd_3v3_sys>;
		};

		gyroscope@68 {
			compatible = "invensense,mpu3050";
			reg = <0x68>;

			interrupt-parent = <&gpio>;
			interrupts = <TEGRA_GPIO(X, 1) IRQ_TYPE_EDGE_RISING>;

			vdd-supply    = <&vdd_3v3_sys>;
			vlogic-supply = <&vdd_1v8_vio>;

			i2c-gate {
				#address-cells = <1>;
				#size-cells = <0>;

				accelerometer@f {
					compatible = "kionix,kxtf9";
					reg = <0x0f>;

					interrupt-parent = <&gpio>;
					interrupts = <TEGRA_GPIO(O, 5) IRQ_TYPE_EDGE_RISING>;

					vdd-supply = <&vdd_1v8_vio>;
					vddio-supply = <&vdd_1v8_vio>;
				};
			};
		};
	};

	hdmi_ddc: i2c@7000c700 {
		status = "okay";
		clock-frequency = <93750>;
	};

	i2c@7000d000 {
		status = "okay";
		clock-frequency = <400000>;

		/* Texas Instruments TPS659110 PMIC */
		pmic: pmic@2d {
			compatible = "ti,tps65911";
			reg = <0x2d>;

			interrupts = <GIC_SPI 86 IRQ_TYPE_LEVEL_HIGH>;
			#interrupt-cells = <2>;
			interrupt-controller;
			wakeup-source;

			ti,en-gpio-sleep = <0 0 1 0 0 0 0 0 0>;
			ti,system-power-controller;
			ti,sleep-keep-ck32k;
			ti,sleep-enable;

			#gpio-cells = <2>;
			gpio-controller;

			vcc1-supply = <&vdd_5v0_bat>;
			vcc2-supply = <&vdd_5v0_bat>;
			vcc3-supply = <&vdd_1v8_vio>;
			vcc4-supply = <&vdd_5v0_sys>;
			vcc5-supply = <&vdd_5v0_bat>;
			vcc6-supply = <&vdd_3v3_sys>;
			vcc7-supply = <&vdd_5v0_bat>;
			vccio-supply = <&vdd_5v0_bat>;

			pmic-sleep-hog {
				gpio-hog;
				gpios = <2 GPIO_ACTIVE_HIGH>;
				output-high;
			};

			regulators {
				/* VDD1 is not used by Transformers */

				vddio_ddr: vdd2 {
					regulator-name = "vddio_ddr";
					regulator-min-microvolt = <1200000>;
					regulator-max-microvolt = <1200000>;
					regulator-always-on;
					regulator-boot-on;
				};

				vdd_cpu: vddctrl {
					regulator-name = "vdd_cpu,vdd_sys";
					regulator-min-microvolt = <600000>;
					regulator-max-microvolt = <1400000>;
					regulator-coupled-with = <&vdd_core>;
					regulator-coupled-max-spread = <300000>;
					regulator-max-step-microvolt = <100000>;
					regulator-always-on;
					regulator-boot-on;
					ti,regulator-ext-sleep-control = <1>;

					nvidia,tegra-cpu-regulator;
				};

				vdd_1v8_vio: vio {
					regulator-name = "vdd_1v8_gen";
					/* FIXME: eMMC won't work, if set to 1.8 V */
					regulator-min-microvolt = <1500000>;
					regulator-max-microvolt = <3300000>;
					regulator-always-on;
					regulator-boot-on;
				};

				/* eMMC VDD */
				vcore_emmc: ldo1 {
					regulator-name = "vdd_emmc_core";
					regulator-min-microvolt = <3300000>;
					regulator-max-microvolt = <3300000>;
					regulator-always-on;
				};

				/* uSD slot VDD */
				vdd_usd: ldo2 {
					regulator-name = "vdd_usd";
					regulator-min-microvolt = <3100000>;
					regulator-max-microvolt = <3100000>;
					/* FIXME: Without this, voltage switching fails */
					regulator-always-on;
				};

				/* uSD slot VDDIO */
				vddio_usd: ldo3 {
					regulator-name = "vddio_usd";
					regulator-min-microvolt = <1800000>;
					regulator-max-microvolt = <3100000>;
				};

				ldo4 {
					regulator-name = "vdd_rtc";
					regulator-min-microvolt = <1200000>;
					regulator-max-microvolt = <1200000>;
					regulator-always-on;
				};

				/* LDO5 is not used by Transformers */

				ldo6 {
					regulator-name = "avdd_dsi_csi,pwrdet_mipi";
					regulator-min-microvolt = <1200000>;
					regulator-max-microvolt = <1200000>;
				};

				ldo7 {
					regulator-name = "vdd_pllm,x,u,a_p_c_s";
					regulator-min-microvolt = <1200000>;
					regulator-max-microvolt = <1200000>;
					regulator-always-on;
					regulator-boot-on;
					ti,regulator-ext-sleep-control = <8>;
				};

				ldo8 {
					regulator-name = "vdd_ddr_hs";
					regulator-min-microvolt = <1000000>;
					regulator-max-microvolt = <1000000>;
					regulator-always-on;
					ti,regulator-ext-sleep-control = <8>;
				};
			};
		};

		nct72: temperature-sensor@4c {
			compatible = "onnn,nct1008";
			reg = <0x4c>;

			interrupt-parent = <&gpio>;
			interrupts = <TEGRA_GPIO(CC, 2) IRQ_TYPE_EDGE_FALLING>;

			vcc-supply = <&vdd_3v3_sys>;
			#thermal-sensor-cells = <1>;
		};

		vdd_core: core-regulator@60 {
			compatible = "ti,tps62361";
			reg = <0x60>;

			regulator-name = "tps62361-vout";
			regulator-min-microvolt = <500000>;
			regulator-max-microvolt = <1770000>;
			regulator-coupled-with = <&vdd_cpu>;
			regulator-coupled-max-spread = <300000>;
			regulator-max-step-microvolt = <100000>;
			regulator-boot-on;
			regulator-always-on;
			ti,enable-vout-discharge;
			ti,vsel0-state-high;
			ti,vsel1-state-high;

			nvidia,tegra-core-regulator;
		};
	};

	pmc@7000e400 {
		status = "okay";
		nvidia,invert-interrupt;
		/* FIXME: LP1 doesn't work at the moment */
		nvidia,suspend-mode = <2>;
		nvidia,cpu-pwr-good-time = <2000>;
		nvidia,cpu-pwr-off-time = <200>;
		nvidia,core-pwr-good-time = <3845 3845>;
		nvidia,core-pwr-off-time = <0>;
		nvidia,core-power-req-active-high;
		nvidia,sys-clock-req-active-high;
		core-supply = <&vdd_core>;

		/* Set DEV_OFF + PWR_OFF_SET bit in DCDC control register of TPS65911 PMIC  */
		i2c-thermtrip {
			nvidia,i2c-controller-id = <4>;
			nvidia,bus-addr = <0x2d>;
			nvidia,reg-addr = <0x3f>;
			nvidia,reg-data = <0x81>;
		};
	};

	hda@70030000 {
		status = "okay";
	};

	ahub@70080000 {
		i2s@70080400 {		/* i2s1 */
			status = "okay";
		};

		/* BT SCO */
		i2s@70080600 {		/* i2s3 */
			status = "okay";
		};
	};

	mmc@78000000 {
		status = "okay";

		/* FIXME: Full 208Mhz clock rate doesn't work reliably */
		max-frequency = <104000000>;

		cd-gpios = <&gpio TEGRA_GPIO(I, 5) GPIO_ACTIVE_LOW>;
		bus-width = <4>;

		vmmc-supply = <&vdd_usd>;	/* ldo2 */
		vqmmc-supply = <&vddio_usd>;	/* ldo3 */
	};

	mmc@78000400 {
		status = "okay";

		#address-cells = <1>;
		#size-cells = <0>;

		assigned-clocks = <&tegra_car TEGRA30_CLK_SDMMC3>;
		assigned-clock-parents = <&tegra_car TEGRA30_CLK_PLL_C>;
		assigned-clock-rates = <50000000>;

		max-frequency = <50000000>;
		keep-power-in-suspend;
		bus-width = <4>;
		non-removable;

		mmc-pwrseq = <&brcm_wifi_pwrseq>;
		vmmc-supply = <&vdd_3v3_com>;
		vqmmc-supply = <&vdd_1v8_vio>;

		/* Azurewave AW-NH615 BCM4329B1 or AW-NH665 BCM4330B1 */
		wifi@1 {
			compatible = "brcm,bcm4329-fmac";
			reg = <1>;

			interrupt-parent = <&gpio>;
			interrupts = <TEGRA_GPIO(O, 4) IRQ_TYPE_LEVEL_HIGH>;
			interrupt-names = "host-wake";
		};
	};

	mmc@78000600 {
		status = "okay";
		bus-width = <8>;
		vmmc-supply = <&vcore_emmc>;
		vqmmc-supply = <&vdd_1v8_vio>;
		mmc-ddr-3_3v;
		non-removable;
	};

	/* USB via ASUS connector */
	usb@7d000000 {
		compatible = "nvidia,tegra30-udc";
		status = "okay";
		dr_mode = "peripheral";
	};

	usb-phy@7d000000 {
		status = "okay";
		dr_mode = "peripheral";
		nvidia,hssync-start-delay = <0>;
		nvidia,xcvr-lsfslew = <2>;
		nvidia,xcvr-lsrslew = <2>;
		vbus-supply = <&vdd_5v0_sys>;
	};

	/* Dock's USB port */
	usb@7d008000 {
		status = "okay";
	};

	usb-phy@7d008000 {
		status = "okay";
		vbus-supply = <&vdd_5v0_bat>;
	};

	mains: ac-adapter-detect {
		compatible = "gpio-charger";
		charger-type = "mains";
		gpios = <&gpio TEGRA_GPIO(H, 5) GPIO_ACTIVE_HIGH>;
	};

	backlight: backlight {
		compatible = "pwm-backlight";

		enable-gpios = <&gpio TEGRA_GPIO(H, 2) GPIO_ACTIVE_HIGH>;
		power-supply = <&vdd_5v0_bl>;
		pwms = <&pwm 0 4000000>;

		brightness-levels = <1 255>;
		num-interpolated-steps = <254>;
		default-brightness-level = <40>;
	};

	/* PMIC has a built-in 32KHz oscillator which is used by PMC */
	clk32k_in: clock-32k {
		compatible = "fixed-clock";
		#clock-cells = <0>;
		clock-frequency = <32768>;
		clock-output-names = "pmic-oscillator";
	};

	cpus {
		cpu0: cpu@0 {
			cpu-supply = <&vdd_cpu>;
			operating-points-v2 = <&cpu0_opp_table>;
			#cooling-cells = <2>;
		};
		cpu1: cpu@1 {
			cpu-supply = <&vdd_cpu>;
			operating-points-v2 = <&cpu0_opp_table>;
			#cooling-cells = <2>;
		};
		cpu2: cpu@2 {
			cpu-supply = <&vdd_cpu>;
			operating-points-v2 = <&cpu0_opp_table>;
			#cooling-cells = <2>;
		};
		cpu3: cpu@3 {
			cpu-supply = <&vdd_cpu>;
			operating-points-v2 = <&cpu0_opp_table>;
			#cooling-cells = <2>;
		};
	};

	extcon-keys {
		compatible = "gpio-keys";

		switch-dock-hall-sensor {
			label = "Lid sensor";
			gpios = <&gpio TEGRA_GPIO(S, 6) GPIO_ACTIVE_LOW>;
			linux,input-type = <EV_SW>;
			linux,code = <SW_LID>;
			debounce-interval = <500>;
			wakeup-event-action = <EV_ACT_ASSERTED>;
			wakeup-source;
		};

		switch-lineout-detect {
			label = "Audio dock line-out detect";
			gpios = <&gpio TEGRA_GPIO(X, 3) GPIO_ACTIVE_LOW>;
			linux,input-type = <EV_SW>;
			linux,code = <SW_LINEOUT_INSERT>;
			debounce-interval = <10>;
			wakeup-event-action = <EV_ACT_ASSERTED>;
			wakeup-source;
		};
	};

	gpio-keys {
		compatible = "gpio-keys";

		key-power {
			label = "Power";
			gpios = <&gpio TEGRA_GPIO(V, 0) GPIO_ACTIVE_LOW>;
			linux,code = <KEY_POWER>;
			debounce-interval = <10>;
			wakeup-event-action = <EV_ACT_ASSERTED>;
			wakeup-source;
		};

		key-volume-down {
			label = "Volume Down";
			gpios = <&gpio TEGRA_GPIO(Q, 3) GPIO_ACTIVE_LOW>;
			linux,code = <KEY_VOLUMEDOWN>;
			debounce-interval = <10>;
			wakeup-event-action = <EV_ACT_ASSERTED>;
			wakeup-source;
		};

		key-volume-up {
			label = "Volume Up";
			gpios = <&gpio TEGRA_GPIO(Q, 2) GPIO_ACTIVE_LOW>;
			linux,code = <KEY_VOLUMEUP>;
			debounce-interval = <10>;
			wakeup-event-action = <EV_ACT_ASSERTED>;
			wakeup-source;
		};
	};

	vdd_5v0_bat: regulator-bat {
		compatible = "regulator-fixed";
		regulator-name = "vdd_ac_bat";
		regulator-min-microvolt = <5000000>;
		regulator-max-microvolt = <5000000>;
		regulator-always-on;
		regulator-boot-on;
	};

	vdd_5v0_cp: regulator-sby {
		compatible = "regulator-fixed";
		regulator-name = "vdd_5v0_sby";
		regulator-min-microvolt = <5000000>;
		regulator-max-microvolt = <5000000>;
		regulator-always-on;
		regulator-boot-on;
		gpio = <&pmic 0 GPIO_ACTIVE_HIGH>;
		enable-active-high;
		vin-supply = <&vdd_5v0_bat>;
	};

	vdd_5v0_sys: regulator-5v {
		compatible = "regulator-fixed";
		regulator-name = "vdd_5v0_sys";
		regulator-min-microvolt = <5000000>;
		regulator-max-microvolt = <5000000>;
		regulator-always-on;
		regulator-boot-on;
		gpio = <&pmic 8 GPIO_ACTIVE_HIGH>;
		enable-active-high;
		vin-supply = <&vdd_5v0_bat>;
	};

	vdd_1v5_ddr: regulator-ddr {
		compatible = "regulator-fixed";
		regulator-name = "vdd_ddr";
		regulator-min-microvolt = <1500000>;
		regulator-max-microvolt = <1500000>;
		regulator-always-on;
		regulator-boot-on;
		gpio = <&pmic 7 GPIO_ACTIVE_HIGH>;
		enable-active-high;
		vin-supply = <&vdd_5v0_bat>;
	};

	vdd_3v3_sys: regulator-3v {
		compatible = "regulator-fixed";
		regulator-name = "vdd_3v3_sys";
		regulator-min-microvolt = <3300000>;
		regulator-max-microvolt = <3300000>;
		regulator-always-on;
		regulator-boot-on;
		gpio = <&pmic 6 GPIO_ACTIVE_HIGH>;
		enable-active-high;
		vin-supply = <&vdd_5v0_bat>;
	};

	vdd_pnl: regulator-panel {
		compatible = "regulator-fixed";
		regulator-name = "vdd_panel";
		regulator-min-microvolt = <3300000>;
		regulator-max-microvolt = <3300000>;
		regulator-enable-ramp-delay = <20000>;
		gpio = <&gpio TEGRA_GPIO(W, 1) GPIO_ACTIVE_HIGH>;
		enable-active-high;
		vin-supply = <&vdd_3v3_sys>;
	};

	vdd_3v3_com: regulator-com {
		compatible = "regulator-fixed";
		regulator-name = "vdd_3v3_com";
		regulator-min-microvolt = <3300000>;
		regulator-max-microvolt = <3300000>;
		regulator-always-on;
		gpio = <&gpio TEGRA_GPIO(D, 0) GPIO_ACTIVE_HIGH>;
		enable-active-high;
		vin-supply = <&vdd_3v3_sys>;
	};

	vdd_5v0_bl: regulator-bl {
		compatible = "regulator-fixed";
		regulator-name = "vdd_5v0_bl";
		regulator-min-microvolt = <5000000>;
		regulator-max-microvolt = <5000000>;
		regulator-boot-on;
		gpio = <&gpio TEGRA_GPIO(H, 3) GPIO_ACTIVE_HIGH>;
		enable-active-high;
		vin-supply = <&vdd_5v0_bat>;
	};

	hdmi_5v0_sys: regulator-hdmi {
		compatible = "regulator-fixed";
		regulator-name = "hdmi_5v0_sys";
		regulator-min-microvolt = <5000000>;
		regulator-max-microvolt = <5000000>;
		gpio = <&gpio TEGRA_GPIO(P, 2) GPIO_ACTIVE_HIGH>;
		enable-active-high;
		vin-supply = <&vdd_5v0_sys>;
	};

	sound {
		nvidia,i2s-controller = <&tegra_i2s1>;

		nvidia,hp-det-gpios = <&gpio TEGRA_GPIO(W, 2) GPIO_ACTIVE_LOW>;
		nvidia,hp-mute-gpios = <&gpio TEGRA_GPIO(X, 2) GPIO_ACTIVE_LOW>;

		clocks = <&tegra_car TEGRA30_CLK_PLL_A>,
			 <&tegra_car TEGRA30_CLK_PLL_A_OUT0>,
			 <&tegra_pmc TEGRA_PMC_CLK_OUT_1>;
		clock-names = "pll_a", "pll_a_out0", "mclk";

		assigned-clocks = <&tegra_car TEGRA30_CLK_EXTERN1>,
				  <&tegra_pmc TEGRA_PMC_CLK_OUT_1>;

		assigned-clock-parents = <&tegra_car TEGRA30_CLK_PLL_A_OUT0>,
					 <&tegra_car TEGRA30_CLK_EXTERN1>;
	};

	thermal-zones {
		/*
		 * NCT72 has two sensors:
		 *
		 *	0: internal that monitors ambient/skin temperature
		 *	1: external that is connected to the CPU's diode
		 *
		 * Ideally we should use userspace thermal governor,
		 * but it's a much more complex solution.  The "skin"
		 * zone exists as a simpler solution which prevents
		 * Transformers from getting too hot from a user's
		 * tactile perspective. The CPU zone is intended to
		 * protect silicon from damage.
		 */

		skin-thermal {
			polling-delay-passive = <1000>; /* milliseconds */
			polling-delay = <5000>; /* milliseconds */

			thermal-sensors = <&nct72 0>;

			trips {
				trip0: skin-alert {
					/* throttle at 57C until temperature drops to 56.8C */
					temperature = <57000>;
					hysteresis = <200>;
					type = "passive";
				};

				trip1: skin-crit {
					/* shut down at 65C */
					temperature = <65000>;
					hysteresis = <2000>;
					type = "critical";
				};
			};

			cooling-maps {
				map0 {
					trip = <&trip0>;
					cooling-device = <&cpu0 THERMAL_NO_LIMIT THERMAL_NO_LIMIT>,
							 <&cpu1 THERMAL_NO_LIMIT THERMAL_NO_LIMIT>,
							 <&cpu2 THERMAL_NO_LIMIT THERMAL_NO_LIMIT>,
							 <&cpu3 THERMAL_NO_LIMIT THERMAL_NO_LIMIT>,
							 <&actmon THERMAL_NO_LIMIT
								  THERMAL_NO_LIMIT>;
				};
			};
		};

		cpu-thermal {
			polling-delay-passive = <1000>; /* milliseconds */
			polling-delay = <5000>; /* milliseconds */

			thermal-sensors = <&nct72 1>;

			trips {
				trip2: cpu-alert {
					/* throttle at 75C until temperature drops to 74.8C */
					temperature = <75000>;
					hysteresis = <200>;
					type = "passive";
				};

				trip3: cpu-crit {
					/* shut down at 90C */
					temperature = <90000>;
					hysteresis = <2000>;
					type = "critical";
				};
			};

			cooling-maps {
				map1 {
					trip = <&trip2>;
					cooling-device = <&cpu0 THERMAL_NO_LIMIT THERMAL_NO_LIMIT>,
							 <&cpu1 THERMAL_NO_LIMIT THERMAL_NO_LIMIT>,
							 <&cpu2 THERMAL_NO_LIMIT THERMAL_NO_LIMIT>,
							 <&cpu3 THERMAL_NO_LIMIT THERMAL_NO_LIMIT>,
							 <&actmon THERMAL_NO_LIMIT
								  THERMAL_NO_LIMIT>;
				};
			};
		};
	};

	brcm_wifi_pwrseq: wifi-pwrseq {
		compatible = "mmc-pwrseq-simple";

		clocks = <&tegra_pmc TEGRA_PMC_CLK_BLINK>;
		clock-names = "ext_clock";

		reset-gpios = <&gpio TEGRA_GPIO(D, 4) GPIO_ACTIVE_LOW>;
		post-power-on-delay-ms = <300>;
		power-off-delay-us = <300>;
	};
};
